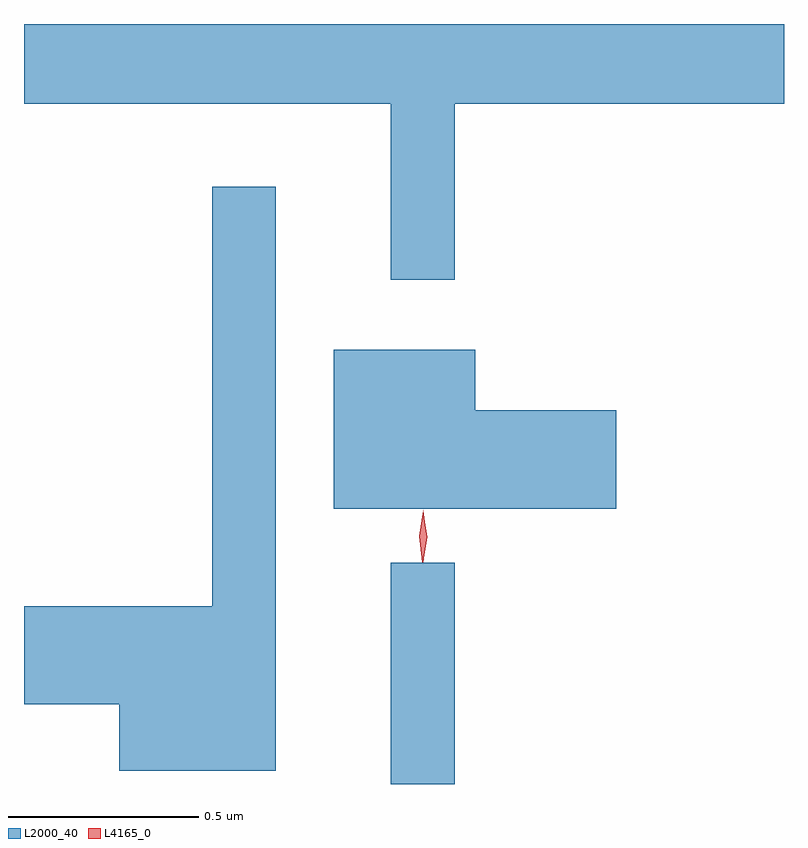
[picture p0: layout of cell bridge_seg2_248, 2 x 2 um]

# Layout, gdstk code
import gdstk
lib = gdstk.Library(unit=1e-6, precision=1e-09)
def R(c, l, rs):  # rectangles x0, y0, x1, y1
    for r in rs: c.add(gdstk.rectangle(r[:2], r[2:], *l))
def P(c, l, *ps):  # polygons
    for p in ps: c.add(gdstk.Polygon(p, *l))
L2000_40 = (2000, 40)
L4165_0 = (4165, 0)

bridge_seg2_248 = lib.new_cell('bridge_seg2_248')
R(bridge_seg2_248, L2000_40, [(588.601,1079.826,588.769,1080.408)])
P(bridge_seg2_248, L2000_40, [(588.769,1081.616),(589.636,1081.616),(589.636,1081.826),(587.636,1081.826),(587.636,1081.616),(588.601,1081.616),(588.601,1081.153),(588.769,1081.153)],
  [(588.299,1081.398),(588.131,1081.398),(588.131,1080.294),(587.636,1080.294),(587.636,1080.036),(587.886,1080.036),(587.886,1079.861),(588.299,1079.861)],
  [(589.194,1080.809),(588.824,1080.809),(588.824,1080.969),(588.451,1080.969),(588.451,1080.551),(589.194,1080.551)])
P(bridge_seg2_248, L4165_0, [(588.687,1080.413),(588.686,1080.414),(588.677,1080.476),(588.686,1080.54),(588.687,1080.54),(588.687,1080.54),(588.697,1080.476),(588.687,1080.414)],
  [(588.684,1080.41),(588.676,1080.478),(588.686,1080.545),(588.687,1080.546),(588.687,1080.545),(588.696,1080.478),(588.686,1080.41),(588.685,1080.41)])

lib.write_gds('bridge_seg2_248.gds')
